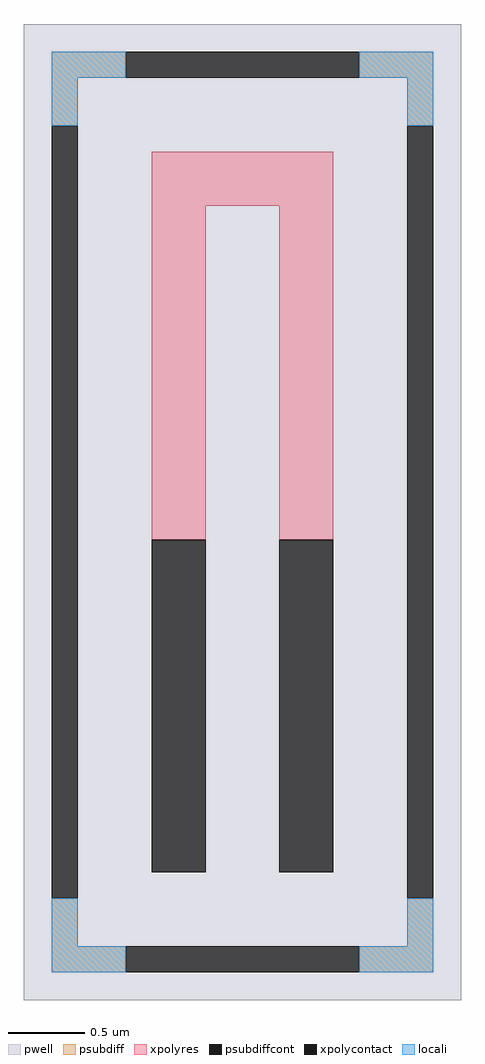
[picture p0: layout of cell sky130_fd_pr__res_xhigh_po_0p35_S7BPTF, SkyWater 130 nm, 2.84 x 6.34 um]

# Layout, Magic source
magic
tech sky130A
<< pwell >>
rect -142 -317 142 317
<< psubdiff >>
rect -124 282 -76 299
rect 76 282 124 299
rect -124 251 -107 282
rect 107 251 124 282
rect -124 -282 -107 -251
rect 107 -282 124 -251
rect -124 -299 -76 -282
rect 76 -299 124 -282
<< psubdiffcont >>
rect -76 282 76 299
rect -124 -251 -107 251
rect 107 -251 124 251
rect -76 -299 76 -282
<< xpolycontact >>
rect -59 -234 -24 -18
rect 24 -234 59 -18
<< xpolyres >>
rect -59 199 59 234
rect -59 -18 -24 199
rect 24 -18 59 199
<< locali >>
rect -124 282 -76 299
rect 76 282 124 299
rect -124 251 -107 282
rect 107 251 124 282
rect -124 -282 -107 -251
rect 107 -282 124 -251
rect -124 -299 -76 -282
rect 76 -299 124 -282
<< properties >>
string FIXED_BBOX -115 -290 115 290
string gencell sky130_fd_pr__res_xhigh_po_0p35
string library sky130
string parameters w 0.35 l 2 m 1 nx 2 wmin 0.350 lmin 0.50 rho 2000 val 25.932k dummy 0 dw 0.0 term 188.2 sterm 0.0 caplen 0 wmax 0.350 guard 1 glc 1 grc 1 gtc 1 gbc 1 compatible {sky130_fd_pr__res_xhigh_po_0p35  sky130_fd_pr__res_xhigh_po_0p69 sky130_fd_pr__res_xhigh_po_1p41  sky130_fd_pr__res_xhigh_po_2p85 sky130_fd_pr__res_xhigh_po_5p73} snake 1 full_metal 1 n_guard 0 hv_guard 0 vias 1 viagb 0 viagt 0 viagl 0 viagr 0
<< end >>
